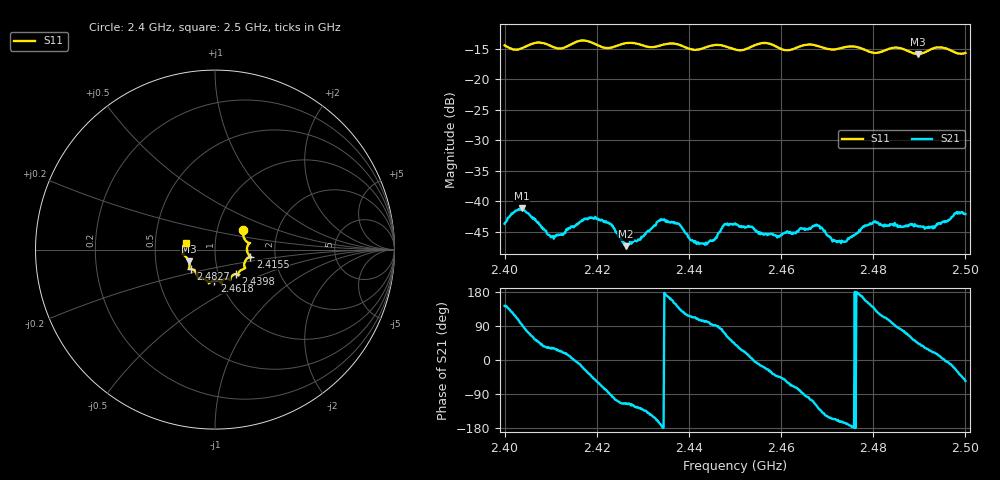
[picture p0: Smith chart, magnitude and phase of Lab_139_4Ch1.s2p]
# Hz S RI R
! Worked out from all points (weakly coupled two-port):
!   601 points, 2.4 GHz to 2.5 GHz, reference 50 ohm
!   highest |S21| = -41.15 dB at 2.4037 GHz (marker M1); lowest = -47.3 dB at 2.4263 GHz (marker M2)
!   lowest |S11| = -15.9 dB at 2.4897 GHz (marker M3), VSWR 1.38, Z = 36.9 - j4.86 ohm
!   |S11| at or under -10 dB: start of sweep to end of sweep
!   S12 and S22 are empty: the file has one direction only
!   S11 on the Smith chart (normalised r, x): 2.4 GHz: 1.33, +0.29; 2.4155 GHz: 1.49, -0.12; 2.4398 GHz: 1.21, -0.34; 2.4618 GHz: 0.94, -0.33; 2.4827 GHz: 0.75, -0.17; 2.5 GHz: 0.72, +0.06
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2.4e9  0.1558 0.1067  -0.00521 0.00398  0 0  0 0
2.403667e9  0.1712 0.0498  -0.000661 0.00874  0 0  0 0
2.410333e9  0.183 0.0232  0.00447 0.00261  0 0  0 0
2.4155e9  0.1974 -0.0394  0.0064 -0.000466  0 0  0 0
2.416667e9  0.2023 -0.0428  0.00658 -0.00196  0 0  0 0
2.4225e9  0.1651 -0.0702  0.000473 -0.00668  0 0  0 0
2.426333e9  0.1677 -0.1025  -0.00187 -0.00387  0 0  0 0
2.433333e9  0.1296 -0.1341  -0.00655 -0.00206  0 0  0 0
2.4375e9  0.1305 -0.1418  -0.00516 0.00416  0 0  0 0
2.439833e9  0.1154 -0.136  -0.0023 0.00454  0 0  0 0
2.443667e9  0.0861 -0.1605  -0.00103 0.00448  0 0  0 0
2.45e9  0.0648 -0.1622  0.00496 0.00435  0 0  0 0
2.456333e9  0.039 -0.1937  0.00501 -0.00181  0 0  0 0
2.461833e9  -0.00322 -0.1728  0.00249 -0.00498  0 0  0 0
2.466667e9  -0.0348 -0.1882  -0.00175 -0.00589  0 0  0 0
2.4735e9  -0.0854 -0.1599  -0.00453 -0.00118  0 0  0 0
2.479833e9  -0.1085 -0.1239  -0.00514 0.00418  0 0  0 0
2.482667e9  -0.1344 -0.1082  -0.00234 0.00589  0 0  0 0
2.483333e9  -0.1395 -0.108  -0.00172 0.0061  0 0  0 0
2.489667e9  -0.1467 -0.0641  0.00441 0.00438  0 0  0 0
2.494333e9  -0.1807 -0.0217  0.00647 0.00127  0 0  0 0
2.5e9  -0.1592 0.0386  0.00446 -0.00645  0 0  0 0
